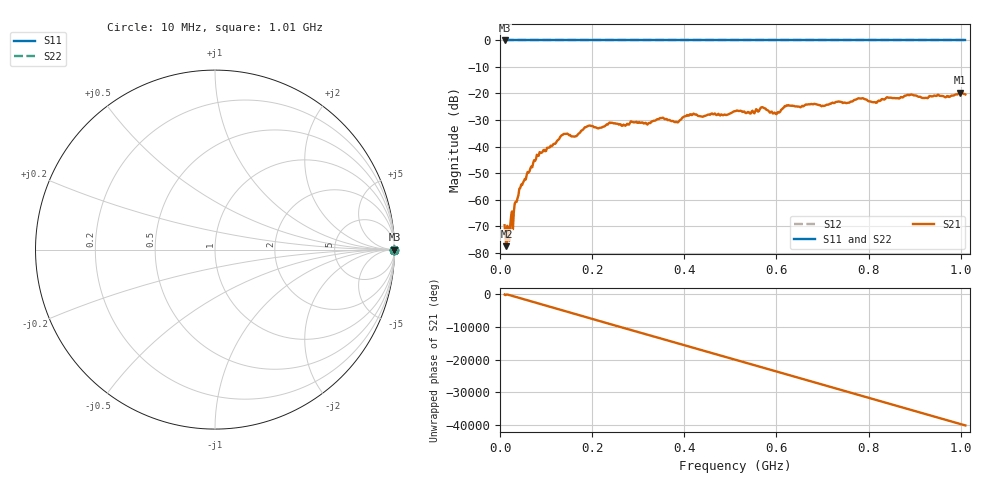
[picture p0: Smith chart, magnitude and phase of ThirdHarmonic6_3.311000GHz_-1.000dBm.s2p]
! 8/17/2025 10:21:02 AM
! C:\ANRITSUVNA\TEMP\TEMP.S2P
! CHANNEL.1
! TR.MEASUREMENT
! RAW.DATA
! RF.CORRECTION.OFF
! AVERAGING.OFF
! IF.BANDWIDTH: 5KHZ
! SWEEPTYPE:  FREQ.SWEEP(Linear)
! Reference Plane Port Info
! PORT:  PORT1  PORT2
! DISTANCE:  0  m  0  m
! TIME:  0  s  0  s
! PHASE.OFFSET:  0  deg.  0  deg.
! LOSS:  0  dB  0  dB
! REF.LOSS:  0  dB  0  dB
! REF.FREQ:  0  Hz  0  Hz
! Power Info
! POWER:  -20  dBm  -20  dBm
! EFF.POWER:  -20  dBm  -20  dBm
! SOURCE.ATTEN:  0  dB  0  dB
! TEST.ATTEN:  0  dB  0  dB
# GHZ S RI R 50.0
! FREQ.GHZ  S11RE  S11IM  S21RE  S21IM  S12RE  S12IM  S22RE  S22IM
!; PortSelection: Port_12
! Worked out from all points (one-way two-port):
!   501 points, 10 MHz to 1.01 GHz, reference 50 ohm
!   highest |S21| = -19.65 dB at 998 MHz (marker M1); lowest = -77.6 dB at 14 MHz (marker M2)
!   lowest |S11| = 0.0 dB at 10 MHz (marker M3)
!   |S11| at or under -10 dB: nowhere
!   |S22| runs from 0.0 to 0.0 dB; largest |S21 - S12| = 1.1
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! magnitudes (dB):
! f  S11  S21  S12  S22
! 10 MHz  0.0  -69.7  0.0  0.0
! 14 MHz  0.0  -77.6  0.0  0.0
! 18 MHz  0.0  -73.9  0.0  0.0
! 46 MHz  0.0  -54.3  0.0  0.0
! 82 MHz  0.0  -43.5  0.0  0.0
! 136 MHz  0.0  -35.6  0.0  0.0
! 162 MHz  0.0  -36.3  0.0  0.0
! 178 MHz  0.0  -33.9  0.0  0.0
! 344 MHz  0.0  -29.7  0.0  0.0
! 384 MHz  0.0  -30.8  0.0  0.0
! 416 MHz  0.0  -28.2  0.0  0.0
! 510 MHz  0.0  -26.6  0.0  0.0
! 548 MHz  0.0  -26.5  0.0  0.0
! 570 MHz  0.0  -25.2  0.0  0.0
! 596 MHz  0.0  -27.2  0.0  0.0
! 622 MHz  0.0  -24.5  0.0  0.0
! 678 MHz  0.0  -24.0  0.0  0.0
! 782 MHz  0.0  -21.9  0.0  0.0
! 814 MHz  0.0  -23.3  0.0  0.0
! 844 MHz  0.0  -21.6  0.0  0.0
! 998 MHz  0.0  -19.7  0.0  0.0
! 1.01 GHz  0.0  -20.4  0.0  0.0
